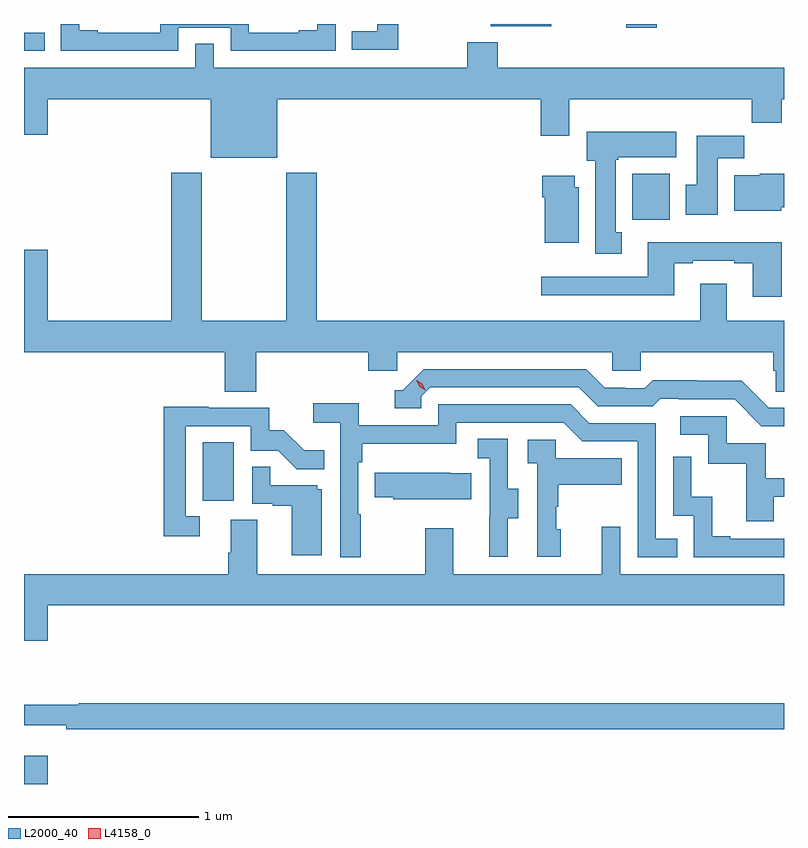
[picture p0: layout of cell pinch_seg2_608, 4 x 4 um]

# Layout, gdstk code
import gdstk
lib = gdstk.Library(unit=1e-6, precision=1e-09)
def R(c, l, rs):  # rectangles x0, y0, x1, y1
    for r in rs: c.add(gdstk.rectangle(r[:2], r[2:], *l))
def P(c, l, *ps):  # polygons
    for p in ps: c.add(gdstk.Polygon(p, *l))
L2000_40 = (2000, 40)
L4158_0 = (4158, 0)

pinch_seg2_608 = lib.new_cell('pinch_seg2_608')
R(pinch_seg2_608, L2000_40, [(1028.182,613.395,1028.308,613.543), (1029.122,614.886,1029.286,615.193), (1031.384,616.364,1031.581,616.606), (1028.182,617.253,1028.291,617.349), (1031.351,617.376,1031.512,617.395), (1030.639,617.384,1030.957,617.395)])
P(pinch_seg2_608, L2000_40, [(1028.994,617.376),(1029.27,617.376),(1029.27,617.253),(1029.822,617.253),(1029.822,617.395),(1029.725,617.395),(1029.725,617.362),(1029.629,617.362),(1029.629,617.349),(1029.366,617.349),(1029.366,617.395),(1028.898,617.395),(1028.898,617.349),(1028.569,617.349),(1028.569,617.362),(1028.474,617.362),(1028.474,617.395),(1028.376,617.395),(1028.376,617.253),(1028.994,617.253)],
  [(1030.153,617.395),(1030.042,617.395),(1030.042,617.356),(1029.907,617.356),(1029.907,617.259),(1030.153,617.259)],
  [(1029.514,617),(1030.901,617),(1030.901,616.806),(1031.053,616.806),(1031.053,617),(1032.013,617),(1032.013,616.876),(1032.17,616.876),(1032.17,617),(1032.182,617),(1032.182,617.164),(1030.676,617.164),(1030.676,617.299),(1030.516,617.299),(1030.516,617.164),(1029.18,617.164),(1029.18,617.291),(1029.084,617.291),(1029.084,617.164),(1028.182,617.164),(1028.182,616.812),(1028.308,616.812),(1028.308,617),(1029.164,617),(1029.164,616.691),(1029.514,616.691)],
  [(1031.329,616.298),(1031.296,616.298),(1031.296,616.681),(1031.31,616.681),(1031.31,616.694),(1031.614,616.694),(1031.614,616.828),(1031.144,616.828),(1031.144,616.674),(1031.189,616.674),(1031.189,616.185),(1031.329,616.185)],
  [(1031.833,616.688),(1031.972,616.688),(1031.972,616.807),(1031.723,616.807),(1031.723,616.548),(1031.666,616.548),(1031.666,616.392),(1031.833,616.392)],
  [(1029.404,615.668),(1029.995,615.668),(1029.995,615.57),(1030.146,615.57),(1030.146,615.668),(1031.277,615.668),(1031.277,615.57),(1031.427,615.57),(1031.427,615.668),(1032.125,615.668),(1032.125,615.57),(1032.139,615.57),(1032.139,615.46),(1032.182,615.46),(1032.182,615.832),(1031.881,615.832),(1031.881,616.027),(1031.741,616.027),(1031.741,615.832),(1029.722,615.832),(1029.722,616.612),(1029.562,616.612),(1029.562,615.832),(1029.117,615.832),(1029.117,616.612),(1028.957,616.612),(1028.957,615.832),(1028.308,615.832),(1028.308,616.207),(1028.182,616.207),(1028.182,615.668),(1029.239,615.668),(1029.239,615.46),(1029.404,615.46)],
  [(1032.168,616.43),(1032.182,616.43),(1032.182,616.606),(1032.054,616.606),(1032.054,616.6),(1031.921,616.6),(1031.921,616.412),(1032.168,616.412)],
  [(1031.101,616.536),(1031.08,616.536),(1031.08,616.597),(1030.91,616.597),(1030.91,616.484),(1030.922,616.484),(1030.922,616.244),(1031.101,616.244)],
  [(1032.17,616.246),(1031.465,616.246),(1031.465,616.065),(1030.905,616.065),(1030.905,615.968),(1031.605,615.968),(1031.605,616.137),(1031.701,616.137),(1031.701,616.149),(1031.921,616.149),(1031.921,616.137),(1032.017,616.137),(1032.017,615.96),(1032.17,615.96)],
  [(1032.182,615.375),(1032.102,615.375),(1031.96,615.517),(1031.724,615.517),(1031.724,615.52),(1031.491,615.52),(1031.449,615.477),(1031.346,615.477),(1031.346,615.48),(1031.239,615.48),(1031.14,615.579),(1030.287,615.579),(1030.176,615.468),(1030.133,615.468),(1030.133,615.372),(1030.272,615.372),(1030.272,615.435),(1030.32,615.483),(1031.103,615.483),(1031.202,615.384),(1031.491,615.384),(1031.53,615.423),(1031.629,615.423),(1031.629,615.42),(1031.922,615.42),(1032.063,615.279),(1032.182,615.279)],
  [(1029.955,614.816),(1029.942,614.816),(1029.942,615.089),(1029.962,615.089),(1029.962,615.185),(1030.458,615.185),(1030.458,615.297),(1031.022,615.297),(1031.121,615.198),(1031.412,615.198),(1031.412,614.589),(1031.621,614.589),(1031.621,614.685),(1031.508,614.685),(1031.508,615.294),(1031.158,615.294),(1031.059,615.393),(1030.362,615.393),(1030.362,615.282),(1029.944,615.282),(1029.944,615.398),(1029.705,615.398),(1029.705,615.296),(1029.846,615.296),(1029.846,614.589),(1029.955,614.589)],
  [(1029.106,614.805),(1029.033,614.805),(1029.033,615.279),(1029.375,615.279),(1029.375,615.15),(1029.519,615.15),(1029.617,615.052),(1029.761,615.052),(1029.761,615.151),(1029.657,615.151),(1029.55,615.258),(1029.474,615.258),(1029.474,615.375),(1029.155,615.375),(1029.155,615.38),(1028.917,615.38),(1028.917,614.7),(1029.106,614.7)],
  [(1032.127,614.907),(1032.182,614.907),(1032.182,615.003),(1032.085,615.003),(1032.085,615.189),(1031.88,615.189),(1031.88,615.33),(1031.637,615.33),(1031.637,615.234),(1031.784,615.234),(1031.784,615.081),(1031.983,615.081),(1031.983,614.778),(1032.127,614.778)],
  [(1030.729,614.794),(1030.783,614.794),(1030.783,614.949),(1030.728,614.949),(1030.728,615.212),(1030.569,615.212),(1030.569,615.109),(1030.632,615.109),(1030.632,614.805),(1030.631,614.805),(1030.631,614.592),(1030.729,614.592)],
  [(1031.008,614.736),(1030.983,614.736),(1030.983,614.855),(1030.993,614.855),(1030.993,614.969),(1031.327,614.969),(1031.327,615.109),(1030.98,615.109),(1030.98,615.207),(1030.833,615.207),(1030.833,615.083),(1030.884,615.083),(1030.884,614.592),(1031.008,614.592)],
  [(1032.182,614.685),(1031.899,614.685),(1031.899,614.698),(1031.804,614.698),(1031.804,614.906),(1031.694,614.906),(1031.694,615.118),(1031.598,615.118),(1031.598,614.808),(1031.706,614.808),(1031.706,614.589),(1032.182,614.589)],
  [(1029.748,614.946),(1029.726,614.946),(1029.726,614.967),(1029.479,614.967),(1029.479,615.065),(1029.384,615.065),(1029.384,614.871),(1029.491,614.871),(1029.491,614.859),(1029.59,614.859),(1029.59,614.598),(1029.748,614.598)],
  [(1030.535,615.031),(1030.427,615.031),(1030.427,615.034),(1030.027,615.034),(1030.027,614.905),(1030.125,614.905),(1030.125,614.894),(1030.535,614.894)],
  [(1028.308,614.336),(1032.182,614.336),(1032.182,614.5),(1031.319,614.5),(1031.319,614.749),(1031.222,614.749),(1031.222,614.5),(1030.441,614.5),(1030.441,614.74),(1030.294,614.74),(1030.294,614.5),(1029.409,614.5),(1029.409,614.786),(1029.269,614.786),(1029.269,614.612),(1029.257,614.612),(1029.257,614.5),(1028.182,614.5),(1028.182,614.148),(1028.308,614.148)],
  [(1032.182,613.82),(1028.471,613.82),(1028.471,613.813),(1028.182,613.813),(1028.182,613.703),(1028.404,613.703),(1028.404,613.684),(1032.182,613.684)])
P(pinch_seg2_608, L4158_0, [(1030.295,615.468),(1030.264,615.487),(1030.247,615.52),(1030.247,615.52),(1030.248,615.52),(1030.278,615.501),(1030.295,615.468),(1030.295,615.468)])

lib.write_gds('pinch_seg2_608.gds')
